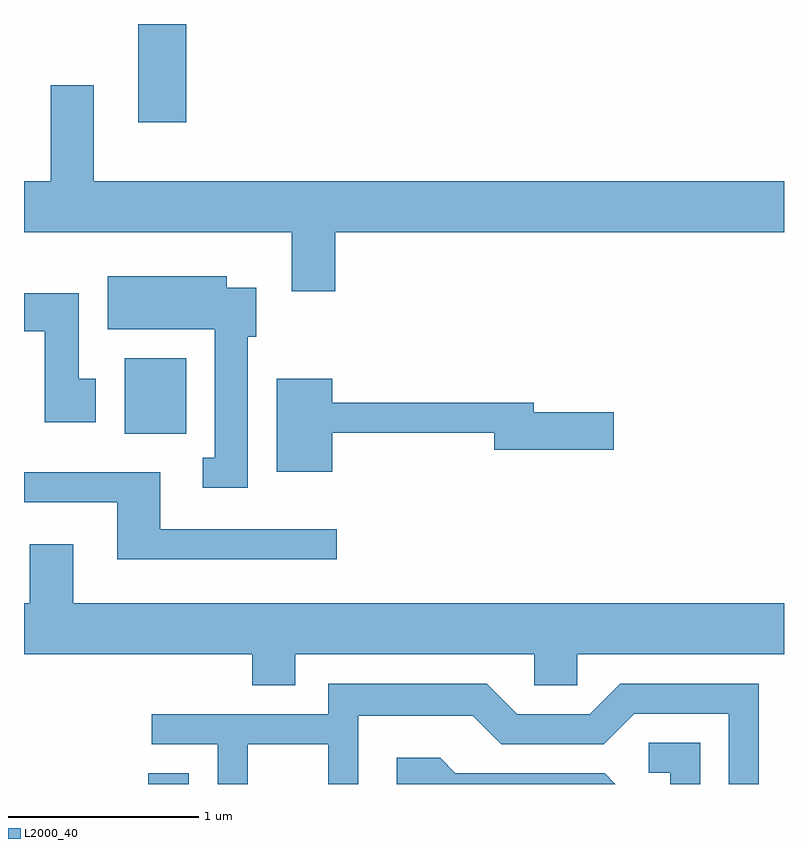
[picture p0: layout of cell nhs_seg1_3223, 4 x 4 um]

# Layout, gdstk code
import gdstk
lib = gdstk.Library(unit=1e-6, precision=1e-09)
def R(c, l, rs):  # rectangles x0, y0, x1, y1
    for r in rs: c.add(gdstk.rectangle(r[:2], r[2:], *l))
def P(c, l, *ps):  # polygons
    for p in ps: c.add(gdstk.Polygon(p, *l))
L2000_40 = (2000, 40)

nhs_seg1_3223 = lib.new_cell('nhs_seg1_3223')
R(nhs_seg1_3223, L2000_40, [(282.266,967.712,282.479,967.769), (282.141,969.556,282.464,969.954), (282.211,971.196,282.464,971.712)])
P(nhs_seg1_3223, L2000_40, [(283.249,970.616),(285.611,970.616),(285.611,970.884),(281.979,970.884),(281.979,971.389),(281.751,971.389),(281.751,970.884),(281.611,970.884),(281.611,970.616),(283.021,970.616),(283.021,970.306),(283.249,970.306)],
  [(282.789,970.066),(282.834,970.066),(282.834,970.324),(282.679,970.324),(282.679,970.384),(282.051,970.384),(282.051,970.106),(282.616,970.106),(282.616,969.429),(282.553,969.429),(282.553,969.271),(282.789,969.271)],
  [(281.989,969.844),(281.899,969.844),(281.899,970.294),(281.611,970.294),(281.611,970.096),(281.721,970.096),(281.721,969.616),(281.989,969.616)],
  [(283.234,969.561),(284.086,969.561),(284.086,969.471),(284.714,969.471),(284.714,969.669),(284.294,969.669),(284.294,969.719),(283.234,969.719),(283.234,969.844),(282.941,969.844),(282.941,969.356),(283.234,969.356)],
  [(283.258,969.054),(282.329,969.054),(282.329,969.354),(281.611,969.354),(281.611,969.196),(282.101,969.196),(282.101,968.896),(283.258,968.896)],
  [(283.039,968.396),(284.296,968.396),(284.296,968.231),(284.524,968.231),(284.524,968.396),(285.611,968.396),(285.611,968.664),(281.869,968.664),(281.869,968.974),(281.641,968.974),(281.641,968.664),(281.611,968.664),(281.611,968.396),(282.811,968.396),(282.811,968.231),(283.039,968.231)],
  [(282.789,967.921),(283.211,967.921),(283.211,967.712),(283.369,967.712),(283.369,968.071),(283.974,968.071),(284.124,967.921),(284.662,967.921),(284.822,968.081),(285.321,968.081),(285.321,967.712),(285.479,967.712),(285.479,968.239),(284.749,968.239),(284.589,968.079),(284.207,968.079),(284.047,968.239),(283.211,968.239),(283.211,968.079),(282.283,968.079),(282.283,967.921),(282.631,967.921),(282.631,967.712),(282.789,967.712)],
  [(285.169,967.929),(284.898,967.929),(284.898,967.771),(285.011,967.771),(285.011,967.712),(285.169,967.712)],
  [(284.667,967.769),(283.882,967.769),(283.802,967.849),(283.573,967.849),(283.573,967.712),(284.724,967.712)])

lib.write_gds('nhs_seg1_3223.gds')
